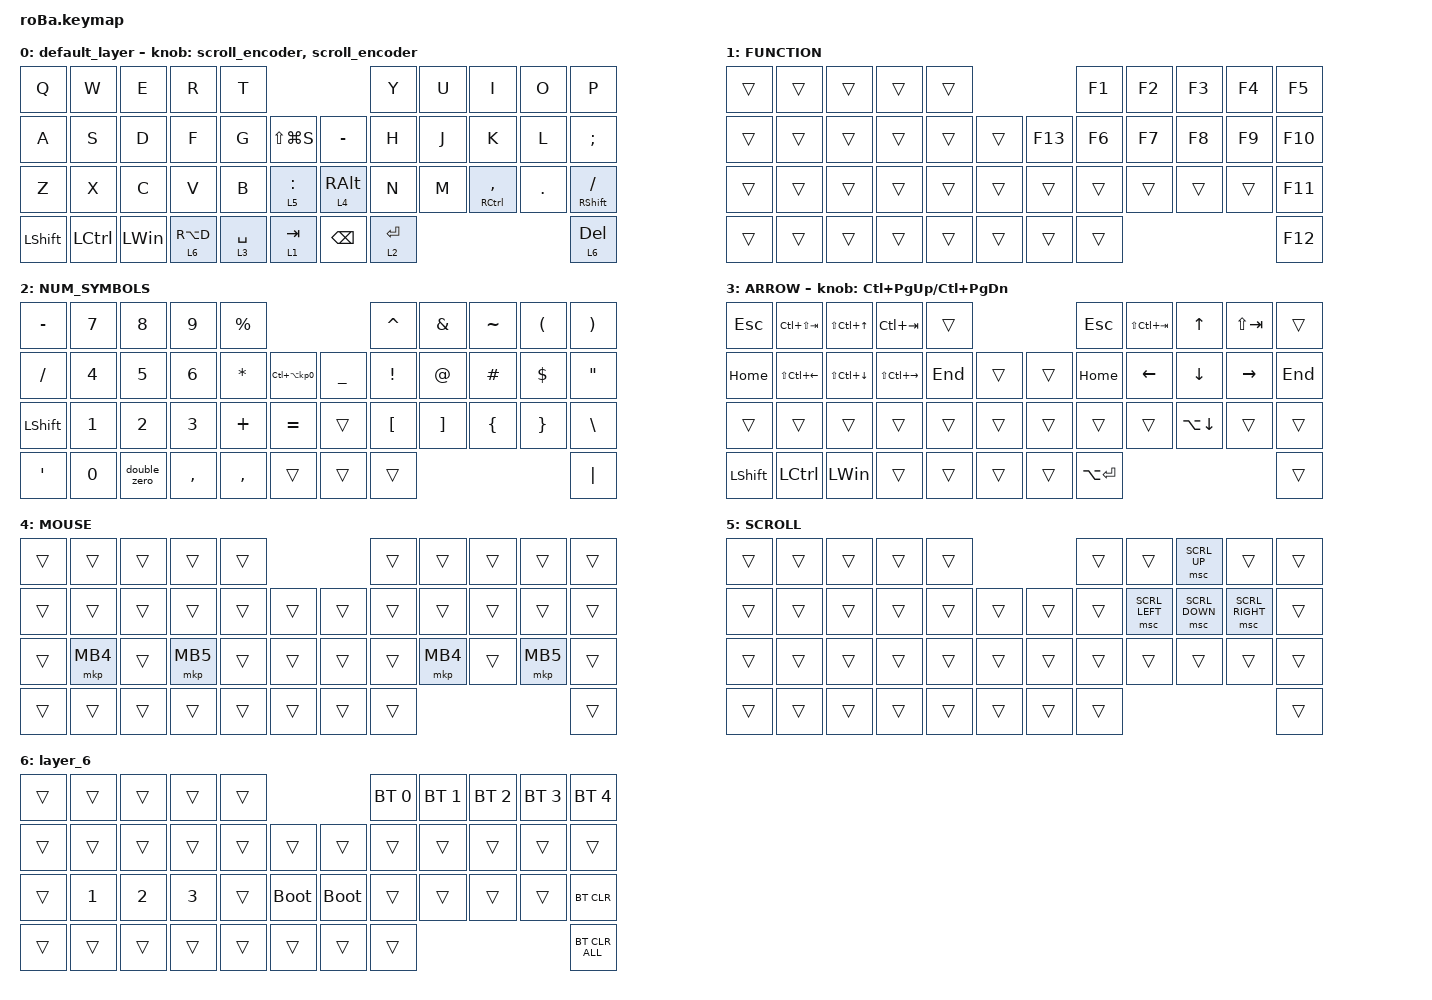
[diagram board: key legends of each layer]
#include <behaviors.dtsi>
#include <dt-bindings/zmk/bt.h>
#include <dt-bindings/zmk/keys.h>
#include <dt-bindings/zmk/pointing.h>

&mt {
    flavor = "balanced";
    quick-tap-ms = <0>;
};

&msc { time-to-max-speed-ms = <1>; };

&trackball {
    automouse-layer = <4>;
    scroll-layers = <5>;

    // arrows {
    //     layers = <3>;
    //     bindings =
    //         <&kp RIGHT_ARROW>,
    //         <&kp LEFT_ARROW>,
    //         <&kp UP_ARROW>,
    //         <&kp DOWN_ARROW>;
    //     tick = <10>;
    //     wait-ms = <5>;
    //     tap-ms = <5>;
    // };
};

/ {
    combos {
        compatible = "zmk,combos";

        tab {
            bindings = <&kp TAB>;
            key-positions = <11 12>;
        };

        shift_tab {
            bindings = <&kp LS(TAB)>;
            key-positions = <12 13>;
        };

        muhennkann {
            bindings = <&to_layer_0 INT_MUHENKAN>;
            key-positions = <11 10>;
        };

        double_quotation {
            bindings = <&kp DOUBLE_QUOTES>;
            key-positions = <20 21>;
        };

        eq {
            bindings = <&kp EQUAL>;
            key-positions = <24 25>;
        };

        mouse_click_left {
            bindings = <&mkp MB1>;
            key-positions = <18 19>;
            layers = <4>;
        };

        mouse_click_right {
            bindings = <&mkp MB2>;
            key-positions = <19 20>;
            layers = <4>;
        };

        mouse_click_middle {
            bindings = <&mkp MB3>;
            key-positions = <18 20>;
            layers = <4>;
        };
    };

    macros {
        to_layer_0: to_layer_0 {
            compatible = "zmk,behavior-macro-one-param";
            #binding-cells = <1>;
            bindings = <&to 0 &macro_param_1to1 &kp MACRO_PLACEHOLDER>;
            label = "TO_LAYER_0";
        };

        double_zero: double_zero {
            compatible = "zmk,behavior-macro";
            #binding-cells = <0>;
            bindings = <&kp N0 &kp N0>;
            label = "DOUBLE_ZERO";
        };
    };

    behaviors {
        lt_to_layer_0: lt_to_layer_0 {
            compatible = "zmk,behavior-hold-tap";
            label = "LAYER_TAP_TO_0";
            bindings = <&mo>, <&to_layer_0>;

            #binding-cells = <2>;
            tapping-term-ms = <200>;
        };

        scroll_encoder: scroll_encoder {
            compatible = "zmk,behavior-sensor-rotate";
            #sensor-binding-cells = <0>;
            bindings = <&msc MOVE_Y(20)>, <&msc MOVE_Y(-20)>;

            tap-ms = <100>;
        };
    };

    keymap {
        compatible = "zmk,keymap";

        default_layer {
            bindings = <
&kp Q           &kp W             &kp E         &kp R        &kp T                                            &kp Y        &kp U  &kp I                    &kp O    &kp P
&kp A           &kp S             &kp D         &kp F        &kp G        &kp LS(LG(S))      &kp MINUS        &kp H        &kp J  &kp K                    &kp L    &kp SEMI
&kp Z           &kp X             &kp C         &kp V        &kp B        &lt 5 COLON        &lt 4 RIGHT_ALT  &kp N        &kp M  &mt RIGHT_CONTROL COMMA  &kp DOT  &mt RIGHT_SHIFT SLASH
&kp LEFT_SHIFT  &kp LEFT_CONTROL  &kp LEFT_WIN  &lt 6 RA(D)  &lt 3 SPACE  &lt 1 TAB          &kp BACKSPACE    &lt 2 ENTER                                           &lt 6 DEL
            >;

            sensor-bindings = <&scroll_encoder &scroll_encoder>;
        };

        FUNCTION {
            bindings = <
&trans  &trans  &trans  &trans  &trans                       &kp F1  &kp F2  &kp F3  &kp F4  &kp F5
&trans  &trans  &trans  &trans  &trans  &trans      &kp F13  &kp F6  &kp F7  &kp F8  &kp F9  &kp F10
&trans  &trans  &trans  &trans  &trans  &trans      &trans   &trans  &trans  &trans  &trans  &kp F11
&trans  &trans  &trans  &trans  &trans  &trans      &trans   &trans                          &kp F12
            >;
        };

        NUM_SYMBOLS {
            bindings = <
&kp MINUS         &kp N7  &kp N8        &kp N9     &kp PERCENT                                                &kp CARET         &kp AMPERSAND      &kp TILDE       &kp LEFT_PARENTHESIS  &kp RIGHT_PARENTHESIS
&kp SLASH         &kp N4  &kp N5        &kp N6     &kp ASTERISK  &kp LC(LA(KP_NUMBER_0))      &kp UNDERSCORE  &kp EXCLAMATION   &kp AT_SIGN        &kp HASH        &kp DOLLAR            &kp DOUBLE_QUOTES
&kp LEFT_SHIFT    &kp N1  &kp N2        &kp N3     &kp PLUS      &kp EQUAL                    &trans          &kp LEFT_BRACKET  &kp RIGHT_BRACKET  &kp LEFT_BRACE  &kp RIGHT_BRACE       &kp BACKSLASH
&kp SINGLE_QUOTE  &kp N0  &double_zero  &kp COMMA  &kp COMMA     &trans                       &trans          &trans                                                                     &kp PIPE
            >;
        };

        ARROW {
            bindings = <
&kp ESCAPE      &kp LC(LS(TAB))         &kp LS(LC(UP_ARROW))  &kp LC(TAB)              &trans                       &kp ESCAPE     &kp LS(LC(TAB))  &kp UP_ARROW    &kp LS(TAB)      &trans
&kp HOME        &kp LS(LC(LEFT_ARROW))  &kp LS(LC(DOWN))      &kp LS(LC(RIGHT_ARROW))  &kp END  &trans      &trans  &kp HOME       &kp LEFT_ARROW   &kp DOWN_ARROW  &kp RIGHT_ARROW  &kp END
&trans          &trans                  &trans                &trans                   &trans   &trans      &trans  &trans         &trans           &kp LA(DOWN)    &trans           &trans
&kp LEFT_SHIFT  &kp LEFT_CONTROL        &kp LEFT_WIN          &trans                   &trans   &trans      &trans  &kp LA(ENTER)                                                    &trans
            >;

            sensor-bindings = <&inc_dec_kp LC(PAGE_UP) LC(PAGE_DOWN)>;
        };

        MOUSE {
            bindings = <
&trans  &trans    &trans  &trans    &trans                      &trans  &trans    &trans  &trans    &trans
&trans  &trans    &trans  &trans    &trans  &trans      &trans  &trans  &trans    &trans  &trans    &trans
&trans  &mkp MB4  &trans  &mkp MB5  &trans  &trans      &trans  &trans  &mkp MB4  &trans  &mkp MB5  &trans
&trans  &trans    &trans  &trans    &trans  &trans      &trans  &trans                              &trans
            >;
        };

        SCROLL {
            bindings = <
&trans  &trans  &trans  &trans  &trans                      &trans  &trans          &msc SCRL_UP    &trans           &trans
&trans  &trans  &trans  &trans  &trans  &trans      &trans  &trans  &msc SCRL_LEFT  &msc SCRL_DOWN  &msc SCRL_RIGHT  &trans
&trans  &trans  &trans  &trans  &trans  &trans      &trans  &trans  &trans          &trans          &trans           &trans
&trans  &trans  &trans  &trans  &trans  &trans      &trans  &trans                                                   &trans
            >;
        };

        layer_6 {
            bindings = <
&trans  &trans        &trans        &trans        &trans                                &bt BT_SEL 0  &bt BT_SEL 1  &bt BT_SEL 2  &bt BT_SEL 3  &bt BT_SEL 4
&trans  &trans        &trans        &trans        &trans  &trans           &trans       &trans        &trans        &trans        &trans        &trans
&trans  &kp NUMBER_1  &kp NUMBER_2  &kp NUMBER_3  &trans  &bootloader      &bootloader  &trans        &trans        &trans        &trans        &bt BT_CLR
&trans  &trans        &trans        &trans        &trans  &trans           &trans       &trans                                                  &bt BT_CLR_ALL
            >;
        };
    };
};
